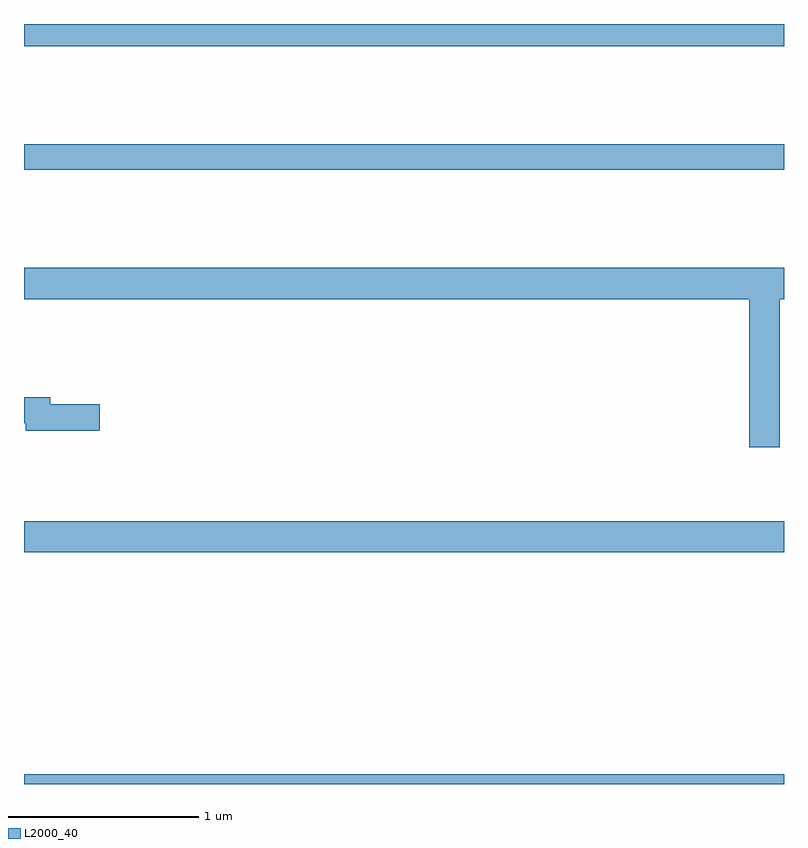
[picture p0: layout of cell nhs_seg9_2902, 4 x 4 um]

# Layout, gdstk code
import gdstk
lib = gdstk.Library(unit=1e-6, precision=1e-09)
def R(c, l, rs):  # rectangles x0, y0, x1, y1
    for r in rs: c.add(gdstk.rectangle(r[:2], r[2:], *l))
def P(c, l, *ps):  # polygons
    for p in ps: c.add(gdstk.Polygon(p, *l))
L2000_40 = (2000, 40)

nhs_seg9_2902 = lib.new_cell('nhs_seg9_2902')
R(nhs_seg9_2902, L2000_40, [(277,1228.5,281,1228.552), (277,1229.72,281,1229.884), (277,1231.732,281,1231.868), (277,1232.384,281,1232.5)])
P(nhs_seg9_2902, L2000_40, [(280.977,1231.052),(281,1231.052),(281,1231.216),(277,1231.216),(277,1231.052),(280.817,1231.052),(280.817,1230.273),(280.977,1230.273)],
  [(277.399,1230.5),(277.138,1230.5),(277.138,1230.536),(277,1230.536),(277,1230.4),(277.01,1230.4),(277.01,1230.358),(277.399,1230.358)])

lib.write_gds('nhs_seg9_2902.gds')
